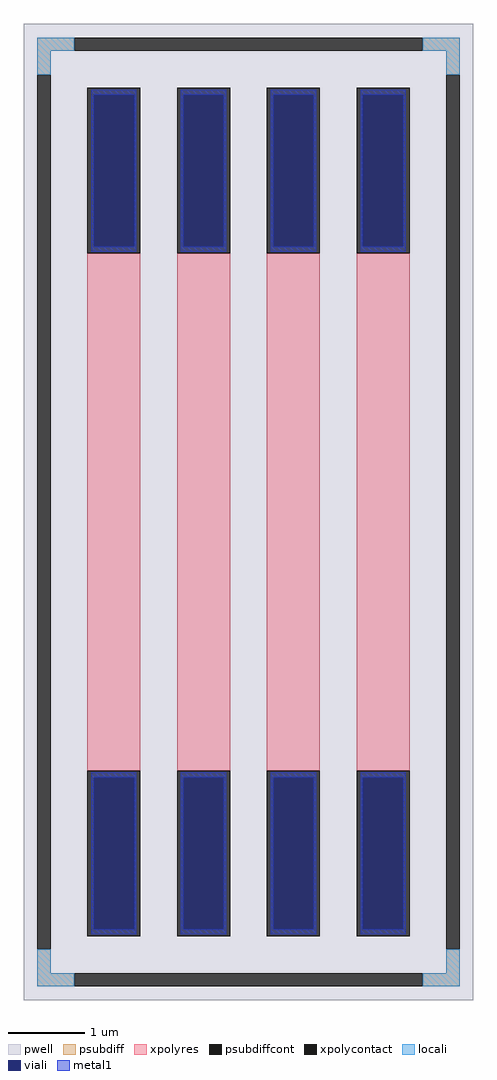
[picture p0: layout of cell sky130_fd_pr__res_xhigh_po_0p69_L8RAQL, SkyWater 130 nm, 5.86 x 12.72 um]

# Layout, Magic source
magic
tech sky130A
magscale 1 2
<< pwell >>
rect -586 -1272 586 1272
<< psubdiff >>
rect -550 1202 -454 1236
rect 454 1202 550 1236
rect -550 1140 -516 1202
rect 516 1140 550 1202
rect -550 -1202 -516 -1140
rect 516 -1202 550 -1140
rect -550 -1236 -454 -1202
rect 454 -1236 550 -1202
<< psubdiffcont >>
rect -454 1202 454 1236
rect -550 -1140 -516 1140
rect 516 -1140 550 1140
rect -454 -1236 454 -1202
<< xpolycontact >>
rect -420 674 -282 1106
rect -420 -1106 -282 -674
rect -186 674 -48 1106
rect -186 -1106 -48 -674
rect 48 674 186 1106
rect 48 -1106 186 -674
rect 282 674 420 1106
rect 282 -1106 420 -674
<< xpolyres >>
rect -420 -674 -282 674
rect -186 -674 -48 674
rect 48 -674 186 674
rect 282 -674 420 674
<< locali >>
rect -550 1202 -454 1236
rect 454 1202 550 1236
rect -550 1140 -516 1202
rect 516 1140 550 1202
rect -550 -1202 -516 -1140
rect 516 -1202 550 -1140
rect -550 -1236 -454 -1202
rect 454 -1236 550 -1202
<< viali >>
rect -404 691 -298 1088
rect -170 691 -64 1088
rect 64 691 170 1088
rect 298 691 404 1088
rect -404 -1088 -298 -691
rect -170 -1088 -64 -691
rect 64 -1088 170 -691
rect 298 -1088 404 -691
<< metal1 >>
rect -410 1088 -292 1100
rect -410 691 -404 1088
rect -298 691 -292 1088
rect -410 679 -292 691
rect -176 1088 -58 1100
rect -176 691 -170 1088
rect -64 691 -58 1088
rect -176 679 -58 691
rect 58 1088 176 1100
rect 58 691 64 1088
rect 170 691 176 1088
rect 58 679 176 691
rect 292 1088 410 1100
rect 292 691 298 1088
rect 404 691 410 1088
rect 292 679 410 691
rect -410 -691 -292 -679
rect -410 -1088 -404 -691
rect -298 -1088 -292 -691
rect -410 -1100 -292 -1088
rect -176 -691 -58 -679
rect -176 -1088 -170 -691
rect -64 -1088 -58 -691
rect -176 -1100 -58 -1088
rect 58 -691 176 -679
rect 58 -1088 64 -691
rect 170 -1088 176 -691
rect 58 -1100 176 -1088
rect 292 -691 410 -679
rect 292 -1088 298 -691
rect 404 -1088 410 -691
rect 292 -1100 410 -1088
<< properties >>
string FIXED_BBOX -533 -1219 533 1219
string gencell sky130_fd_pr__res_xhigh_po_0p69
string library sky130
string parameters w 0.690 l 6.9 m 1 nx 4 wmin 0.690 lmin 0.50 rho 2000 val 20.545k dummy 0 dw 0.0 term 188.2 sterm 0.0 caplen 0 wmax 0.690 guard 1 glc 1 grc 1 gtc 1 gbc 1 compatible {sky130_fd_pr__res_xhigh_po_0p35  sky130_fd_pr__res_xhigh_po_0p69 sky130_fd_pr__res_xhigh_po_1p41  sky130_fd_pr__res_xhigh_po_2p85 sky130_fd_pr__res_xhigh_po_5p73} snake 0 full_metal 1 n_guard 0 hv_guard 0 vias 1 viagb 0 viagt 0 viagl 0 viagr 0
<< end >>
